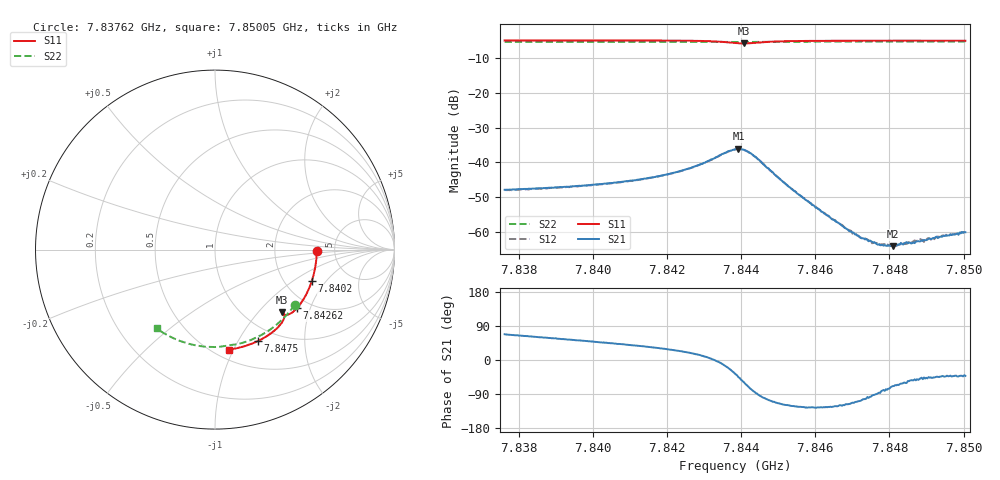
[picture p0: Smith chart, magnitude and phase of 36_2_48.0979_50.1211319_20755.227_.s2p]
#  HZ  S  RI  R  50.00
! Rohde & Schwarz Vector Network Analyzer
! Rohde-Schwarz,ZNB20-2Port,1311601062101988,3.16
! Created: UTC 12/23/2023, 3:38:15 AM
! freq[Hz]  re:S11  im:S11  re:S21  im:S21  re:S12  im:S12  re:S22  im:S22
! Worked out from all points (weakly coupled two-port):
!   401 points, 7.83762 GHz to 7.85005 GHz, reference 50 ohm
!   highest |S21| = -36.10 dB at 7.84393 GHz (marker M1); lowest = -64.1 dB at 7.84809 GHz (marker M2)
!   lowest |S11| = -5.8 dB at 7.84408 GHz (marker M3), VSWR 3.11, Z = 71.7 - j68.3 ohm
!   |S11| at or under -10 dB: nowhere
!   |S22| runs from -5.4 to -5.3 dB; largest |S21 - S12| = 0.00044
!   S11 on the Smith chart (normalised r, x): 7.83762 GHz: 3.61, -0.06; 7.8402 GHz: 2.79, -1.45; 7.84262 GHz: 1.72, -1.63; 7.8475 GHz: 0.82, -1.22; 7.85005 GHz: 0.59, -0.96
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7.837615e9  0.5666 -0.00604  0.00151 0.00373  0.00155 0.00366  0.4441 -0.307
7.839698e9  0.5486 -0.1436  0.0029 0.0036  0.00288 0.00354  0.3467 -0.4151
7.840195e9  0.5392 -0.1758  0.00333 0.00354  0.00329 0.00354  0.3192 -0.4367
7.841128e9  0.5156 -0.2349  0.00433 0.00342  0.00431 0.00341  0.2644 -0.4723
7.84178e9  0.4942 -0.2752  0.00542 0.00332  0.00534 0.00329  0.2236 -0.4932
7.84262e9  0.4583 -0.3247  0.00784 0.00265  0.00778 0.00265  0.1684 -0.5147
7.843366e9  0.4108 -0.361  0.0121 -0.000816  0.0121 -0.000844  0.1175 -0.5278
7.843832e9  0.3768 -0.3591  0.0125 -0.00909  0.0124 -0.00896  0.0865 -0.5322
7.843925e9  0.3743 -0.3551  0.011 -0.0111  0.0112 -0.0107  0.0804 -0.5331
7.844081e9  0.375 -0.3504  0.0077 -0.013  0.00761 -0.013  0.0707 -0.5344
7.84436e9  0.3843 -0.3561  0.00123 -0.0121  0.0012 -0.0122  0.0527 -0.5375
7.845231e9  0.367 -0.4146  -0.00228 -0.00414  -0.00231 -0.00412  -0.00811 -0.5429
7.845914e9  0.3322 -0.4503  -0.00138 -0.002  -0.00142 -0.00202  -0.0564 -0.5408
7.846878e9  0.2775 -0.4892  -0.000484 -0.000957  -0.000519 -0.000969  -0.1234 -0.5303
7.847251e9  0.2554 -0.5015  -0.000222 -0.000777  -0.000254 -0.000773  -0.1488 -0.524
7.8475e9  0.2402 -0.509  -8.58e-05 -0.000729  -5.44e-05 -0.000743  -0.1657 -0.5189
7.847717e9  0.2271 -0.5151  4.38e-05 -0.00066  5.47e-05 -0.000676  -0.1801 -0.5143
7.847997e9  0.2095 -0.5226  0.000159 -0.000615  0.00014 -0.000624  -0.1987 -0.5076
7.84809e9  0.2038 -0.5248  0.000226 -0.000579  0.000254 -0.000603  -0.2047 -0.5053
7.848246e9  0.194 -0.5285  0.000265 -0.000599  0.000243 -0.000605  -0.2147 -0.5011
7.848525e9  0.1764 -0.5347  0.000392 -0.000578  0.000373 -0.000609  -0.2328 -0.4932
7.850048e9  0.0773 -0.5572  0.000735 -0.000658  0.000762 -0.000647  -0.3246 -0.4391
